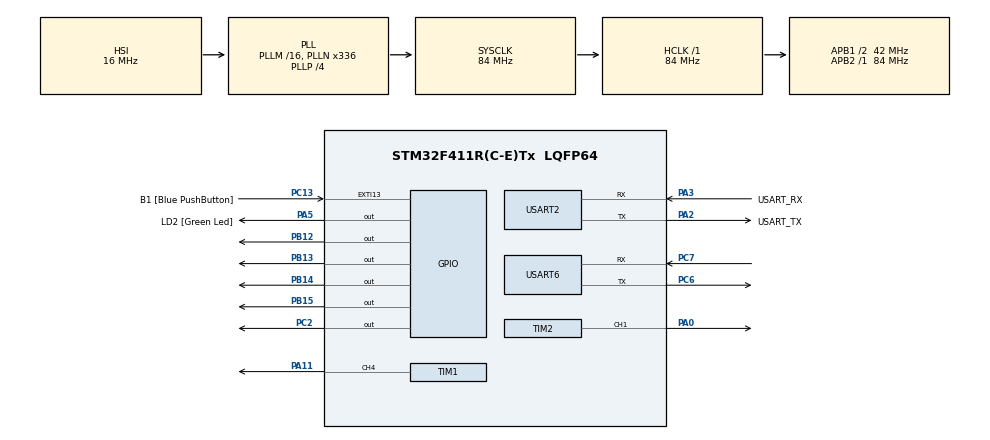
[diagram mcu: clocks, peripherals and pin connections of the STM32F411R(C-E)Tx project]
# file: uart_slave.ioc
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Mcu.Family=STM32F4
Mcu.Name=STM32F411R(C-E)Tx
Mcu.Package=LQFP64
NVIC.PriorityGroup=NVIC_PRIORITYGROUP_0
NVIC.TIM3_IRQn=true\:0\:0\:false\:false\:true\:true\:true\:true
NVIC.USART6_IRQn=true\:0\:0\:false\:false\:true\:true\:true\:true
PA0-WKUP.Signal=S_TIM2_CH1_ETR
PA11.Signal=S_TIM1_CH4
PA13.GPIO_Label=TMS
PA13.Mode=Serial_Wire
PA13.Signal=SYS_JTMS-SWDIO
PA14.GPIO_Label=TCK
PA14.Mode=Serial_Wire
PA14.Signal=SYS_JTCK-SWCLK
PA2.GPIO_Label=USART_TX
PA2.Mode=Asynchronous
PA2.Signal=USART2_TX
PA3.GPIO_Label=USART_RX
PA3.Mode=Asynchronous
PA3.Signal=USART2_RX
PA5.GPIO_Label=LD2 [Green Led]
PA5.Signal=GPIO_Output
PB12.Signal=GPIO_Output
PB13.Signal=GPIO_Output
PB14.Signal=GPIO_Output
PB15.Signal=GPIO_Output
PB3.GPIO_Label=SWO
PB3.Signal=SYS_JTDO-SWO
PC13-ANTI_TAMP.GPIO_Label=B1 [Blue PushButton]
PC13-ANTI_TAMP.GPIO_ModeDefaultEXTI=GPIO_MODE_IT_FALLING
PC13-ANTI_TAMP.Signal=GPXTI13
PC14-OSC32_IN.Mode=LSE-External-Oscillator
PC14-OSC32_IN.Signal=RCC_OSC32_IN
PC15-OSC32_OUT.Mode=LSE-External-Oscillator
PC15-OSC32_OUT.Signal=RCC_OSC32_OUT
PC2.Signal=GPIO_Output
PC6.Mode=Asynchronous
PC6.Signal=USART6_TX
PC7.Mode=Asynchronous
PC7.Signal=USART6_RX
PH0\ -\ OSC_IN.Mode=HSE-External-Clock-Source
PH0\ -\ OSC_IN.Signal=RCC_OSC_IN
PH1\ -\ OSC_OUT.Mode=HSE-External-Clock-Source
PH1\ -\ OSC_OUT.Signal=RCC_OSC_OUT
ProjectManager.HeapSize=0x200
ProjectManager.StackSize=0x400
ProjectManager.TargetToolchain=STM32CubeIDE
RCC.48MHZClocksFreq_Value=84000000
RCC.AHBFreq_Value=84000000
RCC.APB1CLKDivider=RCC_HCLK_DIV2
RCC.APB1Freq_Value=42000000
RCC.APB1TimFreq_Value=84000000
RCC.APB2Freq_Value=84000000
RCC.APB2TimFreq_Value=84000000
RCC.CortexFreq_Value=84000000
RCC.FLatency-AdvancedSettings=FLASH_LATENCY_2
RCC.HCLKFreq_Value=84000000
RCC.HSE_VALUE=8000000
RCC.HSI_VALUE=16000000
RCC.PLLN=336
RCC.PLLP=RCC_PLLP_DIV4
RCC.SYSCLKFreq_VALUE=84000000
RCC.SYSCLKSource=RCC_SYSCLKSOURCE_PLLCLK
RCC.VCOOutputFreq_Value=336000000
SH.S_TIM1_CH4.0=TIM1_CH4,PWM Generation4 CH4
SH.S_TIM2_CH1_ETR.0=TIM2_CH1,PWM Generation1 CH1
TIM1.Channel-PWM\ Generation4\ CH4=TIM_CHANNEL_4
TIM1.Period=20000-1
TIM1.Prescaler=83
TIM2.Channel-PWM\ Generation1\ CH1=TIM_CHANNEL_1
TIM2.Period=20000-1
TIM2.Prescaler=83
USART2.VirtualMode=VM_ASYNC
USART6.VirtualMode=VM_ASYNC
VP_TIM1_VS_ClockSourceINT.Mode=Internal
VP_TIM2_VS_ClockSourceINT.Mode=Internal
VP_TIM3_VS_ClockSourceINT.Mode=Internal
board=NUCLEO-F411RE

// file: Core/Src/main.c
/* USER CODE BEGIN Header */
/**
  ******************************************************************************
  * @file           : main.c
  * @brief          : Main program body
  ******************************************************************************
  * @attention
  *
  * Copyright (c) 2025 STMicroelectronics.
  * All rights reserved.
  *
  * This software is licensed under terms that can be found in the LICENSE file
  * in the root directory of this software component.
  * If no LICENSE file comes with this software, it is provided AS-IS.
  *
  ******************************************************************************
  */
/* USER CODE END Header */
#include "main.h"

/* USER CODE BEGIN Includes */
#include <stdio.h>
#include <string.h>
#include "STEPPER.h"
/* USER CODE END Includes */

/* USER CODE BEGIN PD */
#define DIR_CW            0
#define DIR_CCW           1

#define STEPPER_MOTOR1   0
#define SLAVE_ADRESS1 1
#define SLAVE_ADRESS2 2
#define SLAVE_ADRESS3 3
/* USER CODE END PD */

TIM_HandleTypeDef htim1;
TIM_HandleTypeDef htim2;
TIM_HandleTypeDef htim3;

UART_HandleTypeDef huart2;
UART_HandleTypeDef huart6;

/* USER CODE BEGIN PV */
uint8_t S_RxData[1];
uint8_t S_TxData[7];
uint8_t S_command_H;
uint8_t S_command_L;
uint8_t S_data_H;
uint8_t S_data_L;

uint8_t S_counter = 0;
uint8_t S_is_start_byte = 0;
uint8_t S_is_adress_me = 0;
uint8_t S_is_error = 0;
uint8_t S_checksum = 0;

uint8_t S_step_rpm_speed;

uint16_t S_step_remaining_steps;

uint8_t S_Step_direction = DIR_CW;

uint8_t S_Servo1_angle = 0;
uint16_t S_Servo1_angle_value = 0;

uint8_t S_Servo2_angle = 0;
uint16_t S_Servo2_angle_value = 0;

uint8_t val;
/* USER CODE END PV */

void SystemClock_Config(void);
static void MX_GPIO_Init(void);
static void MX_USART2_UART_Init(void);
static void MX_TIM1_Init(void);
static void MX_TIM3_Init(void);
static void MX_USART6_UART_Init(void);
static void MX_TIM2_Init(void);
/* USER CODE BEGIN PFP */
void SystemClock_Config(void);
static void MX_GPIO_Init(void);
static void MX_USART2_UART_Init(void);
static void MX_TIM1_Init(void);
static void MX_TIM3_Init(void);
static void MX_USART6_UART_Init(void);

void calculate_checksum(uint8_t *data){
	data[6] = data[5]+data[4]+data[3]+data[2]+data[1];
}

uint8_t check_sum(uint8_t command_H, uint8_t command_L, uint8_t data_H, uint8_t data_L, uint8_t slave_adress){
	return (command_H + command_L + data_H + data_L + slave_adress);
}

float map( uint8_t data_H, uint8_t data_L, uint16_t max_val, uint16_t min_val){
    uint16_t bit16_val = ((uint16_t)data_H << 8) | data_L;
    return min_val + ( (float)(bit16_val) / 65535.0f ) * (max_val - min_val);
}

void generate_message(uint8_t* data ,uint8_t slave_adress, uint8_t command_H, uint8_t command_L, uint8_t data_H, uint8_t data_L){
	data[0] = 0xFF,
	data[1] = slave_adress;
	data[2] = command_H;
	data[3] = command_L;
	data[4] = data_H;
	data[5] = data_L;
	data[6] = 0x00;
}

void S_transmit_message(uint8_t *data, uint8_t slave_adress, uint8_t command_H, uint8_t command_L, uint8_t data_H, uint8_t data_L, uint8_t size){
	generate_message(data, slave_adress, command_H, command_L, data_H, data_L);
	calculate_checksum(data);
	HAL_GPIO_WritePin(GPIOC, GPIO_PIN_2, GPIO_PIN_SET);
	HAL_UART_Transmit_IT(&huart6, data, size);
}

void S_Step_RPM_Response(uint8_t *data, uint8_t slave_adress, uint8_t speed){ //speed is between 14-0

	uint16_t result = (uint16_t)(((float)speed / 14.0f) * 65535.0f + 0.5f);
	uint8_t data_H = (result >> 8) & 0xFF;
	uint8_t data_L = result & 0xFF;

	S_transmit_message(data, slave_adress, 0x00, 0x57, data_H, data_L,7);
	HAL_UARTEx_ReceiveToIdle_IT(&huart6, S_RxData, 1);
}

void S_Step_remaining_steps_Response(uint8_t *data, uint8_t slave_adress, uint16_t remaining_steps){

	uint8_t data_H = (remaining_steps >> 8) & 0xFF;
	uint8_t data_L = remaining_steps & 0xFF;

	S_transmit_message(data, slave_adress, 0x00, 0x97, data_H, data_L,7);
	HAL_UARTEx_ReceiveToIdle_IT(&huart6, S_RxData, 1);
}

void S_Step_direction_Response(uint8_t *data, uint8_t slave_adress, uint8_t Step_direction){ // DIR_CW = 0 or DIR_CCW = 1
	S_transmit_message(data, slave_adress, 0x00, 0x77, 0x00, Step_direction,7);
	HAL_UARTEx_ReceiveToIdle_IT(&huart6, S_RxData, 1);
}

void S_Servo1_angle_Response(uint8_t *data, uint8_t slave_adress, uint8_t angle){ //angle < 360

	S_transmit_message(data, slave_adress, 0x00, 0x17, 0x00, angle,7);
	HAL_UARTEx_ReceiveToIdle_IT(&huart6, S_RxData, 1);

}

void S_Servo2_angle_Response(uint8_t *data, uint8_t slave_adress, uint8_t angle){ //angle < 360

	S_transmit_message(data, slave_adress, 0x00, 0xB7, 0x00, angle,7);
	HAL_UARTEx_ReceiveToIdle_IT(&huart6, S_RxData, 1);

}
/* USER CODE END PFP */

int main(void)
{

  /* MCU Configuration--------------------------------------------------------*/

  /* Reset of all peripherals, Initializes the Flash interface and the Systick. */
  HAL_Init();

  /* Configure the system clock */
  SystemClock_Config();

  /* Initialize all configured peripherals */
  MX_GPIO_Init();
  MX_USART2_UART_Init();
  MX_TIM1_Init();
  MX_TIM3_Init();
  MX_USART6_UART_Init();
  MX_TIM2_Init();
  /* USER CODE BEGIN 2 */

  STEPPERS_Init_TMR(&htim3);
  HAL_TIM_PWM_Start(&htim1, TIM_CHANNEL_4);
  HAL_TIM_PWM_Start(&htim2, TIM_CHANNEL_1);
  HAL_UARTEx_ReceiveToIdle_IT(&huart6, S_RxData, 1);
  HAL_Delay(2000);

  /* USER CODE END 2 */

  /* Infinite loop */
  while (1)
  {

  }
}

void SystemClock_Config(void)
{
  RCC_OscInitTypeDef RCC_OscInitStruct = {0};
  RCC_ClkInitTypeDef RCC_ClkInitStruct = {0};

  /** Configure the main internal regulator output voltage
  */
  __HAL_RCC_PWR_CLK_ENABLE();
  __HAL_PWR_VOLTAGESCALING_CONFIG(PWR_REGULATOR_VOLTAGE_SCALE1);

  /** Initializes the RCC Oscillators according to the specified parameters
  * in the RCC_OscInitTypeDef structure.
  */
  RCC_OscInitStruct.OscillatorType = RCC_OSCILLATORTYPE_HSI;
  RCC_OscInitStruct.HSIState = RCC_HSI_ON;
  RCC_OscInitStruct.HSICalibrationValue = RCC_HSICALIBRATION_DEFAULT;
  RCC_OscInitStruct.PLL.PLLState = RCC_PLL_ON;
  RCC_OscInitStruct.PLL.PLLSource = RCC_PLLSOURCE_HSI;
  RCC_OscInitStruct.PLL.PLLM = 16;
  RCC_OscInitStruct.PLL.PLLN = 336;
  RCC_OscInitStruct.PLL.PLLP = RCC_PLLP_DIV4;
  RCC_OscInitStruct.PLL.PLLQ = 4;
  if (HAL_RCC_OscConfig(&RCC_OscInitStruct) != HAL_OK)
  {
    Error_Handler();
  }

  /** Initializes the CPU, AHB and APB buses clocks
  */
  RCC_ClkInitStruct.ClockType = RCC_CLOCKTYPE_HCLK|RCC_CLOCKTYPE_SYSCLK
                              |RCC_CLOCKTYPE_PCLK1|RCC_CLOCKTYPE_PCLK2;
  RCC_ClkInitStruct.SYSCLKSource = RCC_SYSCLKSOURCE_PLLCLK;
  RCC_ClkInitStruct.AHBCLKDivider = RCC_SYSCLK_DIV1;
  RCC_ClkInitStruct.APB1CLKDivider = RCC_HCLK_DIV2;
  RCC_ClkInitStruct.APB2CLKDivider = RCC_HCLK_DIV1;

  if (HAL_RCC_ClockConfig(&RCC_ClkInitStruct, FLASH_LATENCY_2) != HAL_OK)
  {
    Error_Handler();
  }
}

static void MX_TIM1_Init(void)
{

  TIM_ClockConfigTypeDef sClockSourceConfig = {0};
  TIM_MasterConfigTypeDef sMasterConfig = {0};
  TIM_OC_InitTypeDef sConfigOC = {0};
  TIM_BreakDeadTimeConfigTypeDef sBreakDeadTimeConfig = {0};

  htim1.Instance = TIM1;
  htim1.Init.Prescaler = 83;
  htim1.Init.CounterMode = TIM_COUNTERMODE_UP;
  htim1.Init.Period = 20000-1;
  htim1.Init.ClockDivision = TIM_CLOCKDIVISION_DIV1;
  htim1.Init.RepetitionCounter = 0;
  htim1.Init.AutoReloadPreload = TIM_AUTORELOAD_PRELOAD_DISABLE;
  if (HAL_TIM_Base_Init(&htim1) != HAL_OK)
  {
    Error_Handler();
  }
  sClockSourceConfig.ClockSource = TIM_CLOCKSOURCE_INTERNAL;
  if (HAL_TIM_ConfigClockSource(&htim1, &sClockSourceConfig) != HAL_OK)
  {
    Error_Handler();
  }
  if (HAL_TIM_PWM_Init(&htim1) != HAL_OK)
  {
    Error_Handler();
  }
  sMasterConfig.MasterOutputTrigger = TIM_TRGO_RESET;
  sMasterConfig.MasterSlaveMode = TIM_MASTERSLAVEMODE_DISABLE;
  if (HAL_TIMEx_MasterConfigSynchronization(&htim1, &sMasterConfig) != HAL_OK)
  {
    Error_Handler();
  }
  sConfigOC.OCMode = TIM_OCMODE_PWM1;
  sConfigOC.Pulse = 0;
  sConfigOC.OCPolarity = TIM_OCPOLARITY_HIGH;
  sConfigOC.OCFastMode = TIM_OCFAST_DISABLE;
  sConfigOC.OCIdleState = TIM_OCIDLESTATE_RESET;
  sConfigOC.OCNIdleState = TIM_OCNIDLESTATE_RESET;
  if (HAL_TIM_PWM_ConfigChannel(&htim1, &sConfigOC, TIM_CHANNEL_4) != HAL_OK)
  {
    Error_Handler();
  }
  sBreakDeadTimeConfig.OffStateRunMode = TIM_OSSR_DISABLE;
  sBreakDeadTimeConfig.OffStateIDLEMode = TIM_OSSI_DISABLE;
  sBreakDeadTimeConfig.LockLevel = TIM_LOCKLEVEL_OFF;
  sBreakDeadTimeConfig.DeadTime = 0;
  sBreakDeadTimeConfig.BreakState = TIM_BREAK_DISABLE;
  sBreakDeadTimeConfig.BreakPolarity = TIM_BREAKPOLARITY_HIGH;
  sBreakDeadTimeConfig.AutomaticOutput = TIM_AUTOMATICOUTPUT_DISABLE;
  if (HAL_TIMEx_ConfigBreakDeadTime(&htim1, &sBreakDeadTimeConfig) != HAL_OK)
  {
    Error_Handler();
  }
  HAL_TIM_MspPostInit(&htim1);

}

static void MX_TIM2_Init(void)
{

  TIM_ClockConfigTypeDef sClockSourceConfig = {0};
  TIM_MasterConfigTypeDef sMasterConfig = {0};
  TIM_OC_InitTypeDef sConfigOC = {0};

  htim2.Instance = TIM2;
  htim2.Init.Prescaler = 83;
  htim2.Init.CounterMode = TIM_COUNTERMODE_UP;
  htim2.Init.Period = 20000-1;
  htim2.Init.ClockDivision = TIM_CLOCKDIVISION_DIV1;
  htim2.Init.AutoReloadPreload = TIM_AUTORELOAD_PRELOAD_DISABLE;
  if (HAL_TIM_Base_Init(&htim2) != HAL_OK)
  {
    Error_Handler();
  }
  sClockSourceConfig.ClockSource = TIM_CLOCKSOURCE_INTERNAL;
  if (HAL_TIM_ConfigClockSource(&htim2, &sClockSourceConfig) != HAL_OK)
  {
    Error_Handler();
  }
  if (HAL_TIM_PWM_Init(&htim2) != HAL_OK)
  {
    Error_Handler();
  }
  sMasterConfig.MasterOutputTrigger = TIM_TRGO_RESET;
  sMasterConfig.MasterSlaveMode = TIM_MASTERSLAVEMODE_DISABLE;
  if (HAL_TIMEx_MasterConfigSynchronization(&htim2, &sMasterConfig) != HAL_OK)
  {
    Error_Handler();
  }
  sConfigOC.OCMode = TIM_OCMODE_PWM1;
  sConfigOC.Pulse = 0;
  sConfigOC.OCPolarity = TIM_OCPOLARITY_HIGH;
  sConfigOC.OCFastMode = TIM_OCFAST_DISABLE;
  if (HAL_TIM_PWM_ConfigChannel(&htim2, &sConfigOC, TIM_CHANNEL_1) != HAL_OK)
  {
    Error_Handler();
  }
  HAL_TIM_MspPostInit(&htim2);

}

static void MX_TIM3_Init(void)
{

  TIM_ClockConfigTypeDef sClockSourceConfig = {0};
  TIM_MasterConfigTypeDef sMasterConfig = {0};

  htim3.Instance = TIM3;
  htim3.Init.Prescaler = 0;
  htim3.Init.CounterMode = TIM_COUNTERMODE_UP;
  htim3.Init.Period = 65535;
  htim3.Init.ClockDivision = TIM_CLOCKDIVISION_DIV1;
  htim3.Init.AutoReloadPreload = TIM_AUTORELOAD_PRELOAD_DISABLE;
  if (HAL_TIM_Base_Init(&htim3) != HAL_OK)
  {
    Error_Handler();
  }
  sClockSourceConfig.ClockSource = TIM_CLOCKSOURCE_INTERNAL;
  if (HAL_TIM_ConfigClockSource(&htim3, &sClockSourceConfig) != HAL_OK)
  {
    Error_Handler();
  }
  sMasterConfig.MasterOutputTrigger = TIM_TRGO_RESET;
  sMasterConfig.MasterSlaveMode = TIM_MASTERSLAVEMODE_DISABLE;
  if (HAL_TIMEx_MasterConfigSynchronization(&htim3, &sMasterConfig) != HAL_OK)
  {
    Error_Handler();
  }

}

static void MX_USART2_UART_Init(void)
{

  huart2.Instance = USART2;
  huart2.Init.BaudRate = 115200;
  huart2.Init.WordLength = UART_WORDLENGTH_8B;
  huart2.Init.StopBits = UART_STOPBITS_1;
  huart2.Init.Parity = UART_PARITY_NONE;
  huart2.Init.Mode = UART_MODE_TX_RX;
  huart2.Init.HwFlowCtl = UART_HWCONTROL_NONE;
  huart2.Init.OverSampling = UART_OVERSAMPLING_16;
  if (HAL_UART_Init(&huart2) != HAL_OK)
  {
    Error_Handler();
  }

}

static void MX_USART6_UART_Init(void)
{

  huart6.Instance = USART6;
  huart6.Init.BaudRate = 115200;
  huart6.Init.WordLength = UART_WORDLENGTH_8B;
  huart6.Init.StopBits = UART_STOPBITS_1;
  huart6.Init.Parity = UART_PARITY_NONE;
  huart6.Init.Mode = UART_MODE_TX_RX;
  huart6.Init.HwFlowCtl = UART_HWCONTROL_NONE;
  huart6.Init.OverSampling = UART_OVERSAMPLING_16;
  if (HAL_UART_Init(&huart6) != HAL_OK)
  {
    Error_Handler();
  }

}

static void MX_GPIO_Init(void)
{
  GPIO_InitTypeDef GPIO_InitStruct = {0};

  /* GPIO Ports Clock Enable */
  __HAL_RCC_GPIOC_CLK_ENABLE();
  __HAL_RCC_GPIOH_CLK_ENABLE();
  __HAL_RCC_GPIOA_CLK_ENABLE();
  __HAL_RCC_GPIOB_CLK_ENABLE();

  /*Configure GPIO pin Output Level */
  HAL_GPIO_WritePin(GPIOC, GPIO_PIN_2, GPIO_PIN_RESET);

  /*Configure GPIO pin Output Level */
  HAL_GPIO_WritePin(LD2_GPIO_Port, LD2_Pin, GPIO_PIN_RESET);

  /*Configure GPIO pin Output Level */
  HAL_GPIO_WritePin(GPIOB, GPIO_PIN_12|GPIO_PIN_13|GPIO_PIN_14|GPIO_PIN_15, GPIO_PIN_RESET);

  /*Configure GPIO pin : B1_Pin */
  GPIO_InitStruct.Pin = B1_Pin;
  GPIO_InitStruct.Mode = GPIO_MODE_IT_FALLING;
  GPIO_InitStruct.Pull = GPIO_NOPULL;
  HAL_GPIO_Init(B1_GPIO_Port, &GPIO_InitStruct);

  /*Configure GPIO pin : PC2 */
  GPIO_InitStruct.Pin = GPIO_PIN_2;
  GPIO_InitStruct.Mode = GPIO_MODE_OUTPUT_PP;
  GPIO_InitStruct.Pull = GPIO_NOPULL;
  GPIO_InitStruct.Speed = GPIO_SPEED_FREQ_LOW;
  HAL_GPIO_Init(GPIOC, &GPIO_InitStruct);

  /*Configure GPIO pin : LD2_Pin */
  GPIO_InitStruct.Pin = LD2_Pin;
  GPIO_InitStruct.Mode = GPIO_MODE_OUTPUT_PP;
  GPIO_InitStruct.Pull = GPIO_NOPULL;
  GPIO_InitStruct.Speed = GPIO_SPEED_FREQ_LOW;
  HAL_GPIO_Init(LD2_GPIO_Port, &GPIO_InitStruct);

  /*Configure GPIO pins : PB12 PB13 PB14 PB15 */
  GPIO_InitStruct.Pin = GPIO_PIN_12|GPIO_PIN_13|GPIO_PIN_14|GPIO_PIN_15;
  GPIO_InitStruct.Mode = GPIO_MODE_OUTPUT_PP;
  GPIO_InitStruct.Pull = GPIO_NOPULL;
  GPIO_InitStruct.Speed = GPIO_SPEED_FREQ_LOW;
  HAL_GPIO_Init(GPIOB, &GPIO_InitStruct);

}

/* USER CODE BEGIN 4 */
void HAL_UARTEx_RxEventCallback(UART_HandleTypeDef *huart, uint16_t Size)
{
	if(huart->Instance == USART6){ //slave1

		if((S_is_start_byte == 0) & (S_RxData[0] == 0xFF) &(S_is_error == 0)){ // start byte arrived
			S_is_start_byte = 1;
			S_counter++;;

		}
		else if((S_is_start_byte == 1) & (S_RxData[0] == 0x01) & (S_counter == 1) & (S_is_error == 0)){ // adress belongs to the slave
			S_is_adress_me = 1;
			S_counter++;

		}
		else if((S_is_start_byte == 1) & (S_is_adress_me == 0) & (S_counter > 0) & (S_counter < 8) & (S_is_error == 0)){ // adress does not belong to the slave

			if(S_counter == 6){ // end of the message
				S_is_error = 0;
				S_counter = 0;
				S_is_start_byte = 0;
				S_is_adress_me = 0;
			}
			else{
				S_counter++;
			}
		}
		else if((S_is_start_byte == 1) & (S_is_adress_me == SLAVE_ADRESS1) & (S_is_error == 0) & (S_counter > 1) & (S_counter < 8)){ // take the message whose adress belongs to slave

			switch(S_counter){
			case 2:
				S_command_H = S_RxData[0]; // take the high byte of command
				S_counter++;
				break;

			case 3:
				S_command_L = S_RxData[0];// take the low byte of command
				S_counter++;
				break;

			case 4:
				S_data_H = S_RxData[0]; // take the high byte of data
				S_counter++;
				break;

			case 5:
				S_data_L = S_RxData[0]; // take the low byte of data
				S_counter++;
				break;

			case 6:// take the checksum
				val = S_command_L;
				S_checksum = S_RxData[0];
				if(check_sum(S_command_H,S_command_L,S_data_H,S_data_L, SLAVE_ADRESS1) == S_checksum){ //check
					S_is_error = 0; //end of the message
					S_counter = 0;
					S_is_start_byte = 0;
					S_is_adress_me = 0;
					//execute the command
					switch(S_command_L){

					case 0x1C:

						S_Servo1_angle = S_data_L;
						S_Servo1_angle_value = (int)(350 + 2000*(S_Servo1_angle/180.0));
						__HAL_TIM_SET_COMPARE(&htim1, TIM_CHANNEL_4, S_Servo1_angle_value);
						HAL_Delay(20);
						break;

					case 0x1F:
						S_Servo1_angle_Response(S_TxData, SLAVE_ADRESS1, S_Servo1_angle);

						break;

					case 0x5C:
						S_step_rpm_speed = map(S_data_H, S_data_L, 14, 0);
						STEPPER_SetSpeed(STEPPER_MOTOR1, S_step_rpm_speed);
						break;

					case 0x5F:
						S_Step_RPM_Response(S_TxData, SLAVE_ADRESS1, S_step_rpm_speed);
						break;

					case 0x9C:
						S_step_remaining_steps = ((uint16_t)S_data_H << 8) | S_data_L;
						STEPPER_Step_NonBlocking(STEPPER_MOTOR1, S_step_remaining_steps, S_Step_direction);
						break;

					case 0x9F:
						STEPPER_GET_STEP(STEPPER_MOTOR1, & S_step_remaining_steps);
						S_Step_remaining_steps_Response(S_TxData, SLAVE_ADRESS1, S_step_remaining_steps);

						break;

					case 0x7C:
						S_Step_direction = S_data_L;
						STEPPER_Step_NonBlocking(STEPPER_MOTOR1, 0, S_Step_direction);

						break;

					case 0x7F:
						STEPPER_GET_DIR(STEPPER_MOTOR1, &S_Step_direction);
						S_Step_direction_Response(S_TxData, SLAVE_ADRESS1, S_Step_direction);

						break;
					case 0xBC:
						S_Servo2_angle = S_data_L;
						S_Servo2_angle_value = (int)(300 + 2000*(S_Servo2_angle/180.0));
						__HAL_TIM_SET_COMPARE(&htim2, TIM_CHANNEL_1, (int)S_Servo2_angle_value);
						break;

					case 0xBF:
						S_Servo2_angle_Response(S_TxData, SLAVE_ADRESS1, S_Servo2_angle);
						HAL_Delay(20);
						break;

					default:

						break;

					}

					//S_transmit_message(S_TxData, 0x01,0x00,0x4F,0xAA,0xCC,7);
				}
				else{ //error in transmission

					S_is_error = 1; //end of the message
					S_counter = 0;
					S_is_start_byte = 0;
					S_is_adress_me = 0;
				}

				break;

			default:// error in the message
				S_is_error = 1;
				S_counter = 0;
				S_is_start_byte = 0;
				S_is_adress_me = 0;
				break;
			}
		}
		else{

			// error in the message
			S_is_error = 1;

		}
		HAL_UARTEx_ReceiveToIdle_IT(&huart6, S_RxData, 1);

	}

}

void HAL_UART_TxCpltCallback(UART_HandleTypeDef *huart) {

    if (huart->Instance == USART6) {

    	HAL_GPIO_WritePin(GPIOC, GPIO_PIN_2, GPIO_PIN_RESET);

        // Send completed
    }
}

void HAL_TIM_PeriodElapsedCallback(TIM_HandleTypeDef *htim)
{
	if (htim->Instance == TIM3){
		STEPPER_TMR_OVF_ISR(&htim3);
	}
}

/* USER CODE END 4 */

void Error_Handler(void)
{
  __disable_irq();
  while (1)
  {
  }
}
